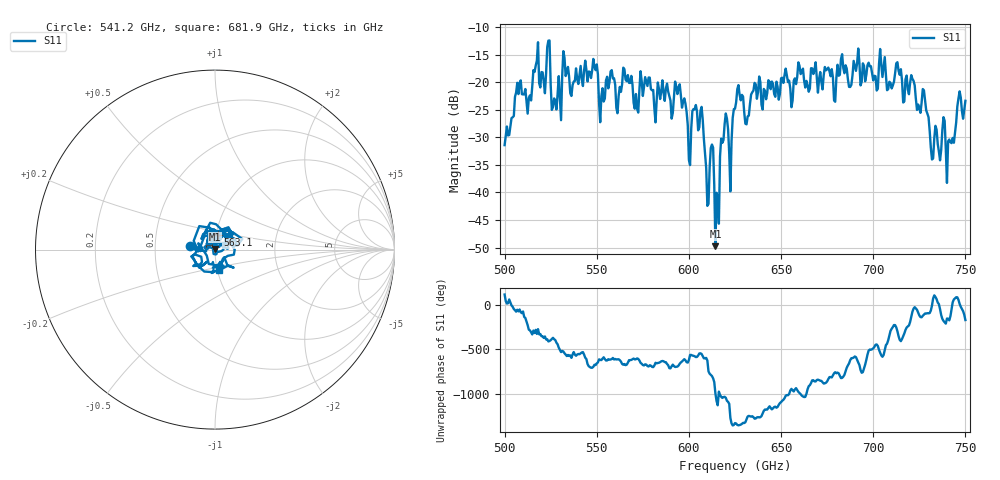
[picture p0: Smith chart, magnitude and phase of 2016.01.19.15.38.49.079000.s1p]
!Created with skrf (http://scikit-rf.org).
# GHz S RI R 50.0
!freq ReS11 ImS11
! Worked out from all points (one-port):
!   401 points, 500 GHz to 750 GHz, reference 50 ohm
!   lowest |S11| = -49.7 dB at 614.4 GHz (marker M1), VSWR 1.01, Z = 50 + j0.322 ohm
!   |S11| at or under -10 dB: start of sweep to end of sweep
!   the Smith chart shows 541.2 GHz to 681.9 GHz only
!   S11 on the Smith chart (normalised r, x): 541.2 GHz: 0.75, +0.03; 563.1 GHz: 1.02, +0.17; 681.9 GHz: 1.02, -0.24
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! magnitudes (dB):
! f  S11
! 500 GHz  -31.4
! 507.5 GHz  -22.1
! 513.1 GHz  -22.9
! 516.9 GHz  -17.0
! 523.8 GHz  -12.4
! 526.9 GHz  -22.9
! 531.2 GHz  -18.8
! 541.2 GHz  -17.0
! 562.5 GHz  -20.8
! 563.1 GHz  -21.7
! 593.8 GHz  -22.1
! 600 GHz  -34.1
! 606.9 GHz  -24.5
! 609.4 GHz  -35.6
! 612.5 GHz  -31.3
! 614.4 GHz  -49.7
! 615.6 GHz  -40.9
! 618.8 GHz  -30.5
! 622.5 GHz  -39.8
! 625 GHz  -24.8
! 656.2 GHz  -23.3
! 681.9 GHz  -18.7
! 687.5 GHz  -20.8
! 718.8 GHz  -21.3
! 728.1 GHz  -23.2
! 731.9 GHz  -34.0
! 741.2 GHz  -30.4
! 750 GHz  -23.4
